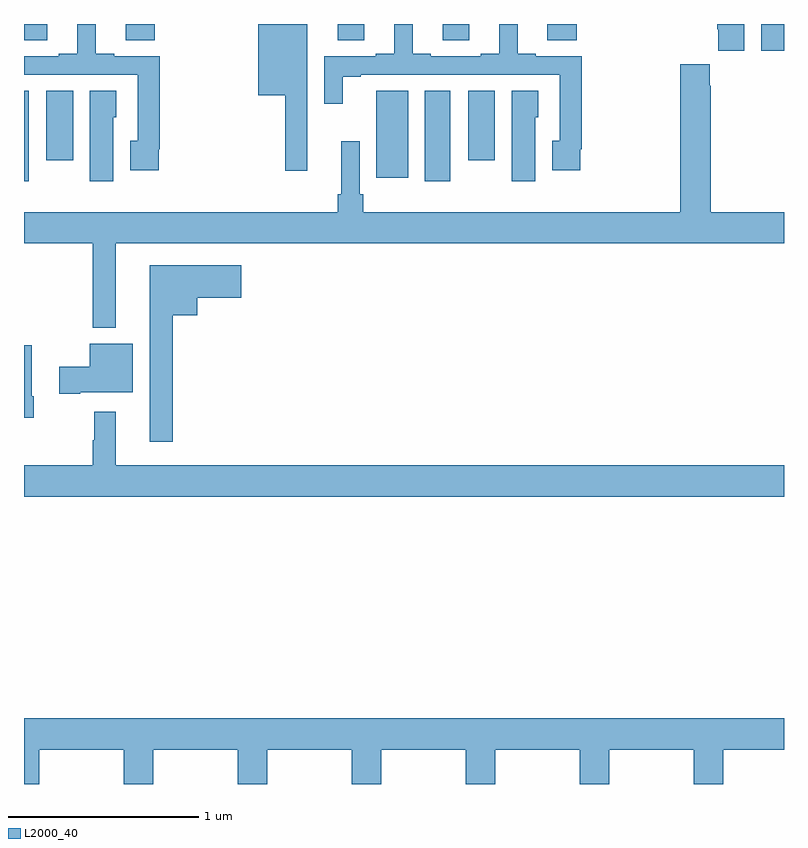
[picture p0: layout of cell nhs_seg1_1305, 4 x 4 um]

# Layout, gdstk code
import gdstk
lib = gdstk.Library(unit=1e-6, precision=1e-09)
def R(c, l, rs):  # rectangles x0, y0, x1, y1
    for r in rs: c.add(gdstk.rectangle(r[:2], r[2:], *l))
def P(c, l, *ps):  # polygons
    for p in ps: c.add(gdstk.Polygon(p, *l))
L2000_40 = (2000, 40)

nhs_seg1_1305 = lib.new_cell('nhs_seg1_1305')
R(nhs_seg1_1305, L2000_40, [(181,573.372,181.024,573.848), (183.11,573.372,183.244,573.848), (182.855,573.39,183.022,573.848), (181.118,573.483,181.258,573.848), (183.338,573.483,183.478,573.848), (184.88,574.059,185,574.199), (181,574.114,181.123,574.199), (181.535,574.114,181.688,574.199), (182.651,574.114,182.791,574.199), (183.203,574.114,183.343,574.199), (183.755,574.114,183.908,574.199)])
P(nhs_seg1_1305, L2000_40, [(184.792,574.199),(184.649,574.199),(184.649,574.171),(184.655,574.171),(184.655,574.059),(184.792,574.059)],
  [(182.492,573.728),(182.49,573.728),(182.49,574.026),(182.491,574.026),(182.491,574.199),(182.234,574.199),(182.234,573.824),(182.374,573.824),(182.374,573.426),(182.492,573.426)],
  [(181.708,573.541),(181.715,573.541),(181.715,574.029),(181.474,574.029),(181.474,574.042),(181.378,574.042),(181.378,574.199),(181.28,574.199),(181.28,574.042),(181.184,574.042),(181.184,574.029),(181,574.029),(181,573.933),(181.599,573.933),(181.599,573.585),(181.559,573.585),(181.559,573.429),(181.708,573.429)],
  [(183.928,573.541),(183.935,573.541),(183.935,574.029),(183.694,574.029),(183.694,574.042),(183.598,574.042),(183.598,574.199),(183.5,574.199),(183.5,574.042),(183.404,574.042),(183.404,574.029),(183.142,574.029),(183.142,574.042),(183.046,574.042),(183.046,574.199),(182.948,574.199),(182.948,574.042),(182.852,574.042),(182.852,574.029),(182.58,574.029),(182.58,573.78),(182.677,573.78),(182.677,573.921),(182.773,573.921),(182.773,573.933),(183.819,573.933),(183.819,573.585),(183.779,573.585),(183.779,573.429),(183.928,573.429)],
  [(181.483,573.044),(185,573.044),(185,573.208),(184.614,573.208),(184.614,573.875),(184.609,573.875),(184.609,573.988),(184.454,573.988),(184.454,573.208),(182.786,573.208),(182.786,573.304),(182.766,573.304),(182.766,573.583),(182.669,573.583),(182.669,573.304),(182.65,573.304),(182.65,573.208),(181,573.208),(181,573.044),(181.362,573.044),(181.362,572.6),(181.483,572.6)],
  [(183.691,573.708),(183.706,573.708),(183.706,573.848),(183.566,573.848),(183.566,573.372),(183.691,573.372)],
  [(181.471,573.708),(181.486,573.708),(181.486,573.848),(181.346,573.848),(181.346,573.372),(181.471,573.372)],
  [(181.783,572.666),(181.912,572.666),(181.912,572.759),(182.143,572.759),(182.143,572.929),(181.661,572.929),(181.661,572.001),(181.783,572.001)],
  [(181.297,572.261),(181.573,572.261),(181.573,572.515),(181.346,572.515),(181.346,572.396),(181.185,572.396),(181.185,572.254),(181.297,572.254)],
  [(181.05,572.239),(181.042,572.239),(181.042,572.508),(181,572.508),(181,572.127),(181.05,572.127)],
  [(185,571.876),(181.483,571.876),(181.483,572.158),(181.369,572.158),(181.369,572.009),(181.362,572.009),(181.362,571.876),(181,571.876),(181,571.712),(185,571.712)],
  [(181.08,570.38),(181.525,570.38),(181.525,570.199),(181.68,570.199),(181.68,570.38),(182.125,570.38),(182.125,570.199),(182.28,570.199),(182.28,570.38),(182.725,570.38),(182.725,570.199),(182.88,570.199),(182.88,570.38),(183.325,570.38),(183.325,570.199),(183.48,570.199),(183.48,570.38),(183.925,570.38),(183.925,570.199),(184.08,570.199),(184.08,570.38),(184.525,570.38),(184.525,570.199),(184.68,570.199),(184.68,570.38),(185,570.38),(185,570.544),(181,570.544),(181,570.199),(181.08,570.199)])

lib.write_gds('nhs_seg1_1305.gds')
